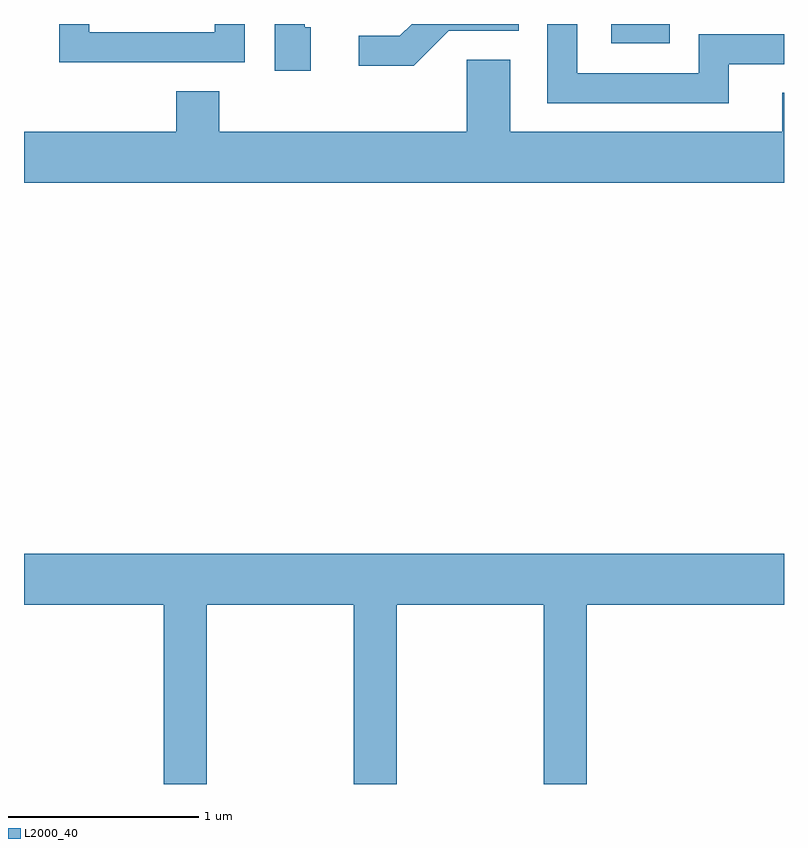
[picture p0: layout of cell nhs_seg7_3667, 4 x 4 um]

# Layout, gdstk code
import gdstk
lib = gdstk.Library(unit=1e-6, precision=1e-09)
def R(c, l, rs):  # rectangles x0, y0, x1, y1
    for r in rs: c.add(gdstk.rectangle(r[:2], r[2:], *l))
def P(c, l, *ps):  # polygons
    for p in ps: c.add(gdstk.Polygon(p, *l))
L2000_40 = (2000, 40)

nhs_seg7_3667 = lib.new_cell('nhs_seg7_3667')
R(nhs_seg7_3667, L2000_40, [(300.701,1726.151,301.009,1726.252)])
P(nhs_seg7_3667, L2000_40, [(298.774,1726.252),(298.616,1726.252),(298.616,1726.209),(297.954,1726.209),(297.954,1726.252),(297.796,1726.252),(297.796,1726.051),(298.774,1726.051)],
  [(299.119,1726.234),(299.089,1726.234),(299.089,1726.252),(298.931,1726.252),(298.931,1726.006),(299.119,1726.006)],
  [(301.319,1726.041),(301.611,1726.041),(301.611,1726.199),(301.161,1726.199),(301.161,1725.994),(300.524,1725.994),(300.524,1726.252),(300.366,1726.252),(300.366,1725.836),(301.319,1725.836)],
  [(299.847,1726.216),(300.214,1726.216),(300.214,1726.252),(299.652,1726.252),(299.589,1726.189),(299.373,1726.189),(299.373,1726.031),(299.662,1726.031)],
  [(301.611,1725.889),(301.601,1725.889),(301.601,1725.684),(300.169,1725.684),(300.169,1726.064),(299.941,1726.064),(299.941,1725.684),(298.639,1725.684),(298.639,1725.899),(298.411,1725.899),(298.411,1725.684),(297.611,1725.684),(297.611,1725.416),(301.611,1725.416)],
  [(298.574,1723.196),(299.346,1723.196),(299.346,1722.252),(299.574,1722.252),(299.574,1723.196),(300.346,1723.196),(300.346,1722.252),(300.574,1722.252),(300.574,1723.196),(301.611,1723.196),(301.611,1723.464),(297.611,1723.464),(297.611,1723.196),(298.346,1723.196),(298.346,1722.252),(298.574,1722.252)])

lib.write_gds('nhs_seg7_3667.gds')
